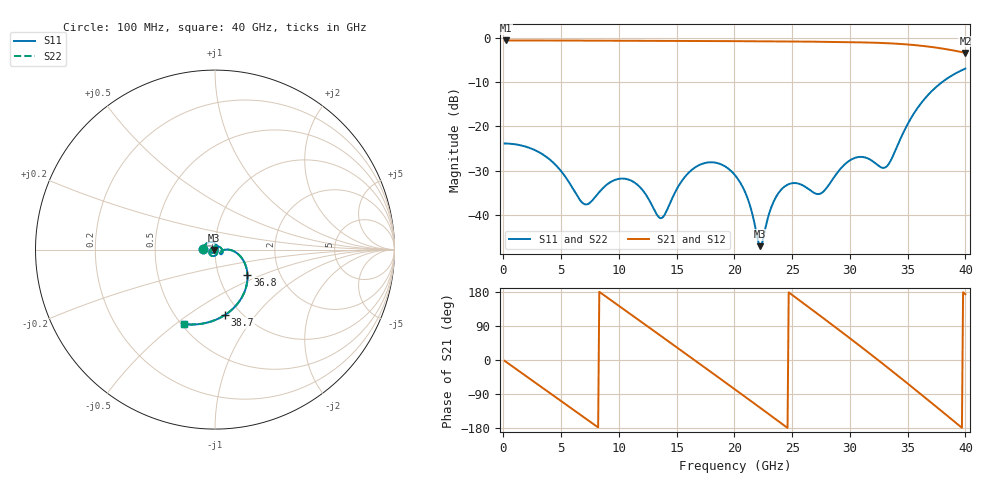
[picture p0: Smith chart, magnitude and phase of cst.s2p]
! A_s4_d300_ap1000: L1→L4 through L2/L3, drill Ø0.3, antipad Ø1, 4 GND vias at 1 mm
! stackup: 4-layer 1.6 mm FR-4
! ports: 1, 2
! CST Studio Suite 2025.5 Release from 2025-05-30, time domain (FIT, hexahedral, PBA), 136400 mesh cells, 29 s
! mesh: {'lpw': 20, 'lpb': 20, 'minstep': 0.0, 'ratio': 20}; ports: port 1 (face); port 2 (face)
! interpolated from CST's 1001 samples to the case grid
# Hz S RI R 50
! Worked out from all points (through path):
!   400 points, 100 MHz to 40 GHz, reference 50 ohm
!   highest |S21| = -0.58 dB at 200 MHz (marker M1); lowest = -3.4 dB at 40 GHz (marker M2)
!   group delay of S21, straight-line fit = 62.4 ps
!   lowest |S11| = -47.0 dB at 22.2 GHz (marker M3), VSWR 1.01, Z = 49.6 - j0.234 ohm
!   |S11| at or under -10 dB: start of sweep to 37.98 GHz
!   |S22| runs from -47.0 to -6.9 dB; largest |S21 - S12| = 4.1e-07
!   S11 on the Smith chart (normalised r, x): 100 MHz: 0.88, +0.00; 36.8 GHz: 1.37, -0.41; 38.7 GHz: 0.85, -0.71; 40 GHz: 0.51, -0.54
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1e8  -0.0642 0.00187  0.935 -0.0354  0.935 -0.0354  -0.0642 0.00187
2e8  -0.0641 0.00375  0.933 -0.0708  0.933 -0.0708  -0.0641 0.00375
1.8e9  -0.0515 0.0305  0.7266 -0.5892  0.7266 -0.5892  -0.0515 0.0305
3.7e9  -0.0176 0.0419  0.1582 -0.9214  0.1582 -0.9214  -0.0176 0.0419
6.8e9  0.0139 -0.000132  -0.7874 -0.5007  -0.7874 -0.5007  0.0139 -0.000133
9.6e9  -0.019 -0.0159  -0.819 0.4432  -0.819 0.4432  -0.019 -0.0159
1.16e10  -0.0209 0.00675  -0.2871 0.8844  -0.2871 0.8844  -0.0209 0.00675
1.34e10  0.00306 0.00913  0.3381 0.8645  0.3381 0.8645  0.00306 0.00913
1.52e10  0.0135 -0.0169  0.8083 0.4517  0.8083 0.4517  0.0135 -0.0169
1.67e10  -0.00315 -0.035  0.9217 -0.0604  0.9217 -0.0604  -0.00315 -0.035
2.01e10  -0.0274 -0.00368  0.1796 -0.9011  0.1796 -0.9011  -0.0274 -0.00368
2.22e10  -0.00377 -0.00236  -0.5311 -0.7469  -0.5311 -0.7469  -0.00377 -0.00236
2.41e10  -0.0071 -0.0183  -0.8935 -0.19  -0.8935 -0.19  -0.00709 -0.0183
2.67e10  -0.0171 0.00685  -0.6206 0.6611  -0.6206 0.6611  -0.0171 0.00684
2.82e10  0.0105 0.0195  -0.1401 0.8908  -0.1401 0.8908  0.0105 0.0194
2.96e10  0.0377 0.00339  0.355 0.8233  0.355 0.8233  0.0376 0.00337
3.16e10  0.0343 -0.0264  0.8336 0.301  0.8336 0.301  0.0342 -0.0264
3.34e10  0.0376 -0.00775  0.799 -0.3422  0.799 -0.3422  0.0376 -0.00774
3.52e10  0.1172 -0.0162  0.3272 -0.7723  0.3272 -0.7723  0.1172 -0.0162
3.68e10  0.181 -0.1408  -0.2269 -0.7647  -0.2269 -0.7647  0.181 -0.1408
3.87e10  0.0574 -0.3629  -0.6569 -0.3234  -0.6569 -0.3234  0.0574 -0.3629
4e10  -0.1734 -0.4153  -0.674 0.0751  -0.674 0.0751  -0.1734 -0.4153
